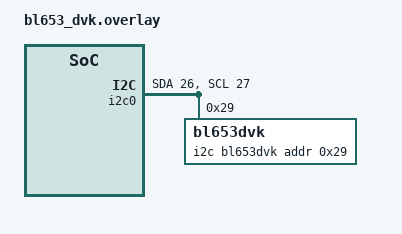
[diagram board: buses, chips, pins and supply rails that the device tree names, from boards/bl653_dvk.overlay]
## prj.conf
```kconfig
# nothing here
#C++ support configs
CONFIG_CPLUSPLUS=y
CONFIG_NEWLIB_LIBC=y
CONFIG_LIB_CPLUSPLUS=y
CONFIG_HEAP_MEM_POOL_SIZE=16348

CONFIG_STDOUT_CONSOLE=y
CONFIG_LOG=y

#GPIO
CONFIG_GPIO=y
CONFIG_OPENOCD_SUPPORT=n

CONFIG_I2C=y
```

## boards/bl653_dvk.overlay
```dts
&i2c0 {
	compatible = "nordic,nrf-twi";
	status = "okay";
	sda-pin = <26>;
	scl-pin = <27>;
	twis_device1:bl653dvk@29 {	
	status = "okay";    			
	label = "i2c bl653dvk addr 0x29";	
	reg = <0x29>;						
	};
};	


// &i2c0 {	
// 	compatible = "nordic,nrf-twis";    									
// 	status = "ok";					
// 	sda-pin = <26>;							
// 	scl-pin = <27>; 
// 	clock-frequency = < I2C_BITRATE_STANDARD >;						
// 	interrupts = < 0x4 0x2 >; 					
	
// 	twis_device1:bl653dvk@29 {	
// 	status = "okay";    			
// 	label = "i2c nRF52840 addr 0x29";	
// 	reg = <0x29>;						
// 	};
// 	};
```

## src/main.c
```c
#include <zephyr.h>
#include <device.h>
#include <devicetree.h>
#include <drivers/i2c.h>
#include "main.h"

enum
{
	speed_100kHz = I2C_SPEED_STANDARD,
	speed_400kHz = I2C_SPEED_FAST,
	speed_1MHz = I2C_SPEED_FAST_PLUS
};

enum
{
	controller_mode_Master = I2C_MODE_MASTER,
	controller_mode_Slave = 0 
};

// port
const char *i2c0port = "I2C_0";

// device structure
const struct device *dev_i2c0;

// static valiable
uint8_t write_buf_data = 0x25;
uint8_t read_buf_data = 0x0;
uint8_t length = 1;
uint16_t Slave_address = 0x29;

static uint32_t i2c_cfg;

void i2c_configure_set(uint8_t i2c_speed, uint8_t controller_mode );
void write(uint8_t *write_buf, uint16_t slave_address, uint8_t massage_length);
void read(uint8_t *read_buf, uint16_t slave_address, uint8_t massage_length);

void main(void)
{
	k_sleep(K_SECONDS(1));
	printk("\n I2C Demo Start....\n");
	enable_i2c();
	i2c_configure_set(speed_100kHz,controller_mode_Master);
	write(write_buf_data, Slave_address, length);
	printk("\nTransmit Data :");
	printk("%d",write_buf_data);
    
	//k_sleep(K_MSEC(1));
    read(read_buf_data, Slave_address,length);
	printk("\nReceived Data :");
	printk("%d",read_buf_data);	
}
/*******************************************************************
See header file for function definition
********************************************************************/

void write(uint8_t *write_buf, uint16_t slave_address, uint8_t massage_length)
{
	int ret;
	struct i2c_msg msg;
	msg.buf = write_buf;
	msg.len = massage_length;
	msg.flags = I2C_MSG_WRITE | I2C_MSG_STOP;
	ret = i2c_transfer(dev_i2c0, &msg, massage_length, 0x29);
	if(ret == 0)
	{
		printk("\nWrite Successful");
	}
	else
	{
		printk("\nWrite Failed");
	}
}

/*******************************************************************
See header file for function definition
********************************************************************/

void read(uint8_t *read_buf, uint16_t slave_address, uint8_t massage_length)
{
	int ret;
	struct i2c_msg msg;
	msg.buf = read_buf;
	msg.len = massage_length;
	msg.flags = I2C_MSG_READ | I2C_MSG_STOP;
	ret = i2c_transfer(dev_i2c0, &msg, massage_length, slave_address);
	if(ret == 0)
	{
		printk("\nRead Successful");
	}
	else
	{
		printk("\nRead Failed");
	}
	
}

/*******************************************************************
See header file for function definition
********************************************************************/

void i2c_configure_set(uint8_t i2c_speed, uint8_t controller_mode_Master )
{
	int ret;
	i2c_cfg = I2C_SPEED_SET(i2c_speed) | controller_mode_Master;
	ret = i2c_configure(dev_i2c0, i2c_cfg);
	if(ret == 0)
	{
		printk("\nConfigure Success");
	}
	else
	{
		printk("\nConfigure Fail");
	}
}



/*******************************************************************
See header file for function definition
********************************************************************/

void enable_i2c(void)
{
	dev_i2c0 = device_get_binding(i2c0port);
	if (dev_i2c0 == NULL)
	{
		printk("Device Binding for I2C_0 failed\n");
	}
	else
	{
		printk("Device Binding for I2C_0 success\n");
	}
}
```

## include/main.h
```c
#include <stdio.h>
#include <string.h>
// enum
// {
// 	NORMAL_POLARITY = PWM_POLARITY_NORMAL,
// 	INVERTED_POLARITY = PWM_POLARITY_INVERTED
// };

// /*
// * @brief 
//   Set the device binding for pwm0
// */
// void enable_pwm(void);

// /*
// * @brief Set all the configuration for PWM 
//   @param d_polarity set the polarity (PWM_POLARITY_NORMAL or PWM_POLARITY_INVERTED) as per requirment
//   @param d_frequency set the frequency in KHz
//   @param d_duty_cycle set the duty cycle from 0% to 100%
// */
// void configuration_set(uint8_t d_polarity, uint32_t d_frequency, uint16_t d_duty_cycle);

// /*
//  * @brief Set the period and pulse width for a single PWM output.
//  * it will generate the PWM pulse 
//  */
// void generate_pwm(void);
```
